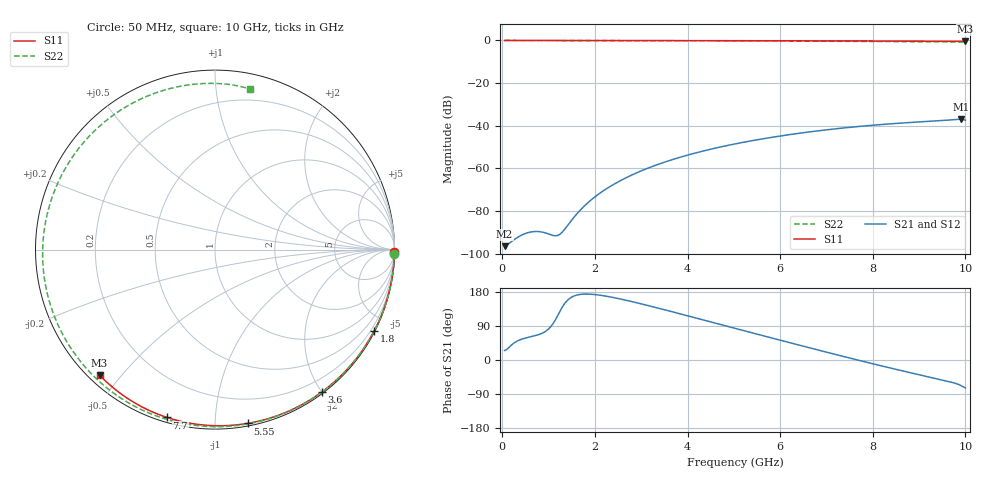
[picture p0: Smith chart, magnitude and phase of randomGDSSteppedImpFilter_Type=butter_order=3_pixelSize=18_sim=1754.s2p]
! freq	dB(S11)	phase(S11)	dB(S12)	phase(S12)
!  dB(S21)	phase(S21)	dB(S22)	phase(S22)
!S-par simulation data
#  GHz  S  DB  R 50
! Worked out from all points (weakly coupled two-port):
!   200 points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, 50 MHz to 10 GHz, reference 50 ohm
!   highest |S21| = -36.88 dB at 9.9 GHz (marker M1); lowest = -96.5 dB at 50 MHz (marker M2)
!   lowest |S11| = -0.4 dB at 10 GHz (marker M3), VSWR 39.24, Z = 1.52 - j21.9 ohm
!   |S11| at or under -10 dB: nowhere
!   |S22| runs from -0.7 to 0.0 dB; largest |S21 - S12| = 0
!   S11 on the Smith chart (normalised r, x): 50 MHz: open; 1.8 GHz: 0.04, -4.13; 3.6 GHz: 0.02, -2.00; 5.55 GHz: 0.02, -1.20; 7.7 GHz: 0.02, -0.75; 10 GHz: 0.03, -0.44
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0.05  -0.00 -0.8  -96.46 25.1  -96.46 25.1  -0.00 -1.4
0.8  -0.01 -12.2  -89.65 67.6  -89.65 67.6  -0.03 -22.5
1.65  -0.03 -25.0  -80.33 172.4  -80.33 172.4  -0.06 -45.7
1.75  -0.03 -26.5  -78.08 173.9  -78.08 173.9  -0.06 -48.4
1.8  -0.03 -27.2  -77.04 174.1  -77.04 174.1  -0.06 -49.8
2.1  -0.04 -31.7  -71.73 171.2  -71.73 171.2  -0.07 -57.8
2.5  -0.05 -37.5  -66.33 162.3  -66.33 162.3  -0.09 -68.3
2.9  -0.06 -43.3  -62.08 151.2  -62.08 151.2  -0.10 -78.6
3.4  -0.07 -50.4  -57.83 135.9  -57.83 135.9  -0.12 -91.3
3.6  -0.07 -53.2  -56.37 129.5  -56.37 129.5  -0.13 -96.3
4.3  -0.09 -62.9  -52.04 107.0  -52.04 107.0  -0.16 -113.6
5.05  -0.11 -72.9  -48.41 82.7  -48.41 82.7  -0.20 -132.0
5.55  -0.13 -79.4  -46.39 66.6  -46.39 66.6  -0.23 -144.4
6.15  -0.15 -87.0  -44.32 47.5  -44.32 47.5  -0.28 -159.5
6.7  -0.18 -93.9  -42.69 30.1  -42.69 30.1  -0.33 -173.9
7.2  -0.21 -100.0  -41.42 14.5  -41.42 14.5  -0.38 172.4
7.7  -0.24 -106.0  -40.33 -0.9  -40.33 -0.9  -0.43 158.0
8.35  -0.29 -113.6  -39.15 -20.3  -39.15 -20.3  -0.51 137.7
9.2  -0.36 -123.4  -37.94 -44.5  -37.94 -44.5  -0.61 108.2
9.55  -0.40 -127.4  -37.47 -54.2  -37.47 -54.2  -0.65 95.0
9.9  -0.43 -131.4  -36.88 -67.2  -36.88 -67.2  -0.72 81.3
10  -0.44 -132.6  -37.42 -73.6  -37.42 -73.6  -0.74 77.7
